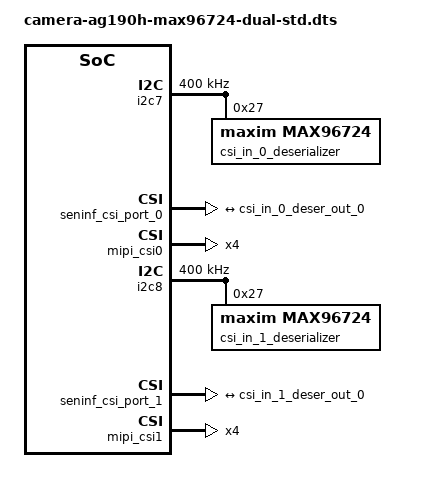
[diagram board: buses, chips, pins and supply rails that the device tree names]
// SPDX-License-Identifier: GPL-2.0
/*
 * Copyright (c) 2025 MediaTek Inc.
 *
 */

#include <dt-bindings/clock/mediatek,mt8189-clk.h>
#include <dt-bindings/gpio/gpio.h>
#include <dt-bindings/pinctrl/mt8189-pinfunc.h>
#include "camera-gmsl-macro-def.dtsi"

/dts-v1/;
/plugin/;

/ {
	fragment@1 {
		target = <&mt6359_vcamio_ldo_reg>;
		__overlay__ {
			regulator-always-on;
		};
	};

	/* CSI Port #0: 4 GMSL cameras */
	#define CSI_IN_ID 0
	fragment@2 {
		target = <&i2c7>;
		__overlay__ {
			#address-cells = <1>;
			#size-cells = <0>;
			clock-frequency = <400000>;
			status = "okay";

			csi_in_0_deserializer: gmsl-deserializer@27 {
				#address-cells = <1>;
				#size-cells = <0>;
				compatible = "maxim,max96724";
				reg = <0x27>;
			};
		};
	};

	fragment@3 {
		target = <&seninf_csi_port_0>;
		__overlay__ {
			status = "okay";
			ports {
				port@0 {
					csi_in_0: endpoint {
						clock-lanes = <0>;
						data-lanes = <1 2 3 4>;
						remote-endpoint = <&csi_in_0_deser_out_0>;
					};
				};
			};
		};
	};

	fragment@4 {
		target = <&mipi_csi0>;
		__overlay__ {
			status = "okay";
			num-lanes = <4>;
		};
	};

	fragment@5 {
		target = <&csi_in_0_deserializer>;
		__overlay__ {
			phy@GMSL_PHY {
				reg = <GMSL_PHY>;
				max,alt-mem-map12;
			};

			#define DESER_CH_INDEX 0
			#include "camera-gmsl-deserializer-channel.dtsi"

			#define DESER_CH_INDEX 1
			#include "camera-gmsl-deserializer-channel.dtsi"

			#define DESER_CH_INDEX 2
			#include "camera-gmsl-deserializer-channel.dtsi"

			#define DESER_CH_INDEX 3
			#include "camera-gmsl-deserializer-channel.dtsi"
		};
	};

	fragment@6 {
		target = <&csi_in_0_deserializer>;
		__overlay__ {
			i2c-alias-pool = <
				GMSL_SER_0_HEX_ADDR
				GMSL_SER_1_HEX_ADDR
				GMSL_SER_2_HEX_ADDR
				GMSL_SER_3_HEX_ADDR
			>;

			i2c-atr {
				#address-cells = <1>;
				#size-cells = <0>;

				csi_in_0_deserializer_i2c_0: i2c@0 {
					#address-cells = <1>;
					#size-cells = <0>;
					reg = <0>;
				};

				csi_in_0_deserializer_i2c_1: i2c@1 {
					#address-cells = <1>;
					#size-cells = <0>;
					reg = <1>;
				};

				csi_in_0_deserializer_i2c_2: i2c@2 {
					#address-cells = <1>;
					#size-cells = <0>;
					reg = <2>;
				};

				csi_in_0_deserializer_i2c_3: i2c@3 {
					#address-cells = <1>;
					#size-cells = <0>;
					reg = <3>;
				};
			};
		};
	};

	/* CSI Port #1: 2 GMSL cameras */
	#define CSI_IN_ID 1
	fragment@7 {
		target = <&i2c8>;
		__overlay__ {
			#address-cells = <1>;
			#size-cells = <0>;
			clock-frequency = <400000>;
			status = "okay";

			csi_in_1_deserializer: gmsl-deserializer@27 {
				#address-cells = <1>;
				#size-cells = <0>;
				compatible = "maxim,max96724";
				reg = <0x27>;
			};
		};
	};

	fragment@8 {
		target = <&seninf_csi_port_1>;
		__overlay__ {
			status = "okay";
			ports {
				port@0 {
					csi_in_1: endpoint {
						clock-lanes = <0>;
						data-lanes = <1 2 3 4>;
						remote-endpoint = <&csi_in_1_deser_out_0>;
					};
				};
			};
		};
	};

	fragment@9 {
		target = <&mipi_csi1>;
		__overlay__ {
			status = "okay";
			num-lanes = <4>;
		};
	};

	fragment@10 {
		target = <&csi_in_1_deserializer>;
		__overlay__ {
			phy@GMSL_PHY {
				reg = <GMSL_PHY>;
				max,alt-mem-map12;
			};

			#define DESER_CH_INDEX 0
			#include "camera-gmsl-deserializer-channel.dtsi"

			#define DESER_CH_INDEX 1
			#include "camera-gmsl-deserializer-channel.dtsi"
		};
	};

	fragment@11 {
		target = <&csi_in_1_deserializer>;
		__overlay__ {
			i2c-alias-pool = <
				GMSL_SER_0_HEX_ADDR
				GMSL_SER_1_HEX_ADDR
			>;

			i2c-atr {
				#address-cells = <1>;
				#size-cells = <0>;

				csi_in_1_deserializer_i2c_0: i2c@0 {
					#address-cells = <1>;
					#size-cells = <0>;
					reg = <0>;
				};

				csi_in_1_deserializer_i2c_1: i2c@1 {
					#address-cells = <1>;
					#size-cells = <0>;
					reg = <1>;
				};
			};
		};
	};
};

/* CSI Port #0: 4 GMSL cameras */
#define CSI_IN_ID 0

csi_in_0_serializer_0_i2c_bus: &csi_in_0_deserializer_i2c_0 {};
csi_in_0_serializer_1_i2c_bus: &csi_in_0_deserializer_i2c_1 {};
csi_in_0_serializer_2_i2c_bus: &csi_in_0_deserializer_i2c_2 {};
csi_in_0_serializer_3_i2c_bus: &csi_in_0_deserializer_i2c_3 {};

&csi_in_0_serializer_0_i2c_bus {
	#define SER_INDEX 0
	#define SER_I2C_ALIAS_POLL GMSL_CAM_0_HEX_ADDR
	#include "camera-gmsl-serializer.dtsi"
};

&csi_in_0_serializer_1_i2c_bus {
	#define SER_INDEX 1
	#define SER_I2C_ALIAS_POLL GMSL_CAM_1_HEX_ADDR
	#include "camera-gmsl-serializer.dtsi"
};

&csi_in_0_serializer_2_i2c_bus {
	#define SER_INDEX 2
	#define SER_I2C_ALIAS_POLL GMSL_CAM_2_HEX_ADDR
	#include "camera-gmsl-serializer.dtsi"
};

&csi_in_0_serializer_3_i2c_bus {
	#define SER_INDEX 3
	#define SER_I2C_ALIAS_POLL GMSL_CAM_3_HEX_ADDR
	#include "camera-gmsl-serializer.dtsi"
};

csi_in_0_camera_0_i2c_bus: &csi_in_0_serializer_0_i2c_0 {};
csi_in_0_camera_1_i2c_bus: &csi_in_0_serializer_1_i2c_0 {};
csi_in_0_camera_2_i2c_bus: &csi_in_0_serializer_2_i2c_0 {};
csi_in_0_camera_3_i2c_bus: &csi_in_0_serializer_3_i2c_0 {};

&csi_in_0_camera_0_i2c_bus {
	#define SER_INDEX 0
	#include "camera-gmsl-ag190h.dtsi"
};

&csi_in_0_camera_1_i2c_bus {
	#define SER_INDEX 1
	#include "camera-gmsl-ag190h.dtsi"
};

&csi_in_0_camera_2_i2c_bus {
	#define SER_INDEX 2
	#include "camera-gmsl-ag190h.dtsi"
};

&csi_in_0_camera_3_i2c_bus {
	#define SER_INDEX 3
	#include "camera-gmsl-ag190h.dtsi"
};

/* CSI Port #1: 2 GMSL cameras */
#define CSI_IN_ID 1

csi_in_1_serializer_0_i2c_bus: &csi_in_1_deserializer_i2c_0 {};
csi_in_1_serializer_1_i2c_bus: &csi_in_1_deserializer_i2c_1 {};

&csi_in_1_serializer_0_i2c_bus {
	#define SER_INDEX 0
	#define SER_I2C_ALIAS_POLL GMSL_CAM_0_HEX_ADDR
	#include "camera-gmsl-serializer.dtsi"
};

&csi_in_1_serializer_1_i2c_bus {
	#define SER_INDEX 1
	#define SER_I2C_ALIAS_POLL GMSL_CAM_1_HEX_ADDR
	#include "camera-gmsl-serializer.dtsi"
};

csi_in_1_camera_0_i2c_bus: &csi_in_1_serializer_0_i2c_0 {};
csi_in_1_camera_1_i2c_bus: &csi_in_1_serializer_1_i2c_0 {};

&csi_in_1_camera_0_i2c_bus {
	#define SER_INDEX 0
	#include "camera-gmsl-ag190h.dtsi"
};

&csi_in_1_camera_1_i2c_bus {
	#define SER_INDEX 1
	#include "camera-gmsl-ag190h.dtsi"
};
